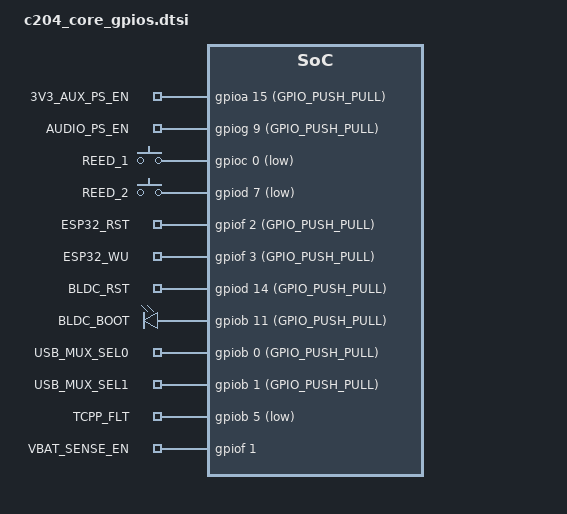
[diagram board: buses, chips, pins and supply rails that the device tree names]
/*
 * Copyright (c) 2022 Acme CPU
 * 
 * GPIO device list
 * 	- keypad
 * 	- load switch enable (may consier to remove dedicated tps22810 driver)
 *  - audio ps enable
 * 	- reed switches
 * 	- network processor (esp32) reset and wakeup
 *  - bldc driver reset and boot
 *  - tcpp fault
 *  - usb mux
 */

&c204 {
	aux_enable {
		compatible = "gpio-keys";
		
	    aux_ps_en: aux_ps_en {
	      gpios = <&gpioa 15 (GPIO_PUSH_PULL)>;
	      label = "3V3_AUX_PS_EN";
	    };
	    
	    audio_ps_en: audio_ps_en {
	      gpios = <&gpiog 9 (GPIO_PUSH_PULL)>;
	      label = "AUDIO_PS_EN";
	    };
	};
	
	reed_switches {
		compatible = "gpio-keys";

	    reed_switch_1 {
	      gpios = <&gpioc 0 (GPIO_PULL_UP | GPIO_ACTIVE_LOW)>;
	      label = "REED_1";
	    };
	    
	    reed_switch_2 {
	      gpios = <&gpiod 7 (GPIO_PULL_UP | GPIO_ACTIVE_LOW)>;
	      label = "REED_2";
	    };
	};
	
	net_proc_gpios {
		compatible = "gpio-keys";
		
	    wifibt_rst: wifibt_rst {
	      gpios = <&gpiof 2 (GPIO_PUSH_PULL)>;
	      label = "ESP32_RST";
	    };
	    
	    wifibt_wake: wifibt_wake {
	      gpios = <&gpiof 3 (GPIO_PUSH_PULL)>;
	      label = "ESP32_WU";
	    };
	};
	
	bldc_drv_gpios {
		compatible = "gpio-leds";
		
	    bldc_rst: bldc_rst {
	      gpios = <&gpiod 14 (GPIO_PUSH_PULL)>;
	      label = "BLDC_RST";
	    };
	    
	    bldc_boot: bldc_boot {
	      gpios = <&gpiob 11 (GPIO_PUSH_PULL)>;
	      label = "BLDC_BOOT";
	    };
	};
	
	usb_mux_gpios {
		compatible = "gpio-keys";

	    usb_mux_sel0: usb_mux_sel0 {
	      gpios = <&gpiob 0 (GPIO_PUSH_PULL)>;
	      label = "USB_MUX_SEL0";
	    };

	    usb_mux_sel1: usb_mux_sel1 {
	      gpios = <&gpiob 1 (GPIO_PUSH_PULL)>;
	      label = "USB_MUX_SEL1";
	    };
	};

	other_gpios {
		compatible = "gpio-keys";

	    tcpp_flt {
	      gpios = <&gpiob 5 (GPIO_PULL_UP | GPIO_ACTIVE_LOW)>;
	      label = "TCPP_FLT";
	    };
	    
	    vbat_sense_en: vbat_sense_en {
	      gpios = <&gpiof 1 GPIO_ACTIVE_HIGH>;
	      label = "VBAT_SENSE_EN";
	    };
	};
};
